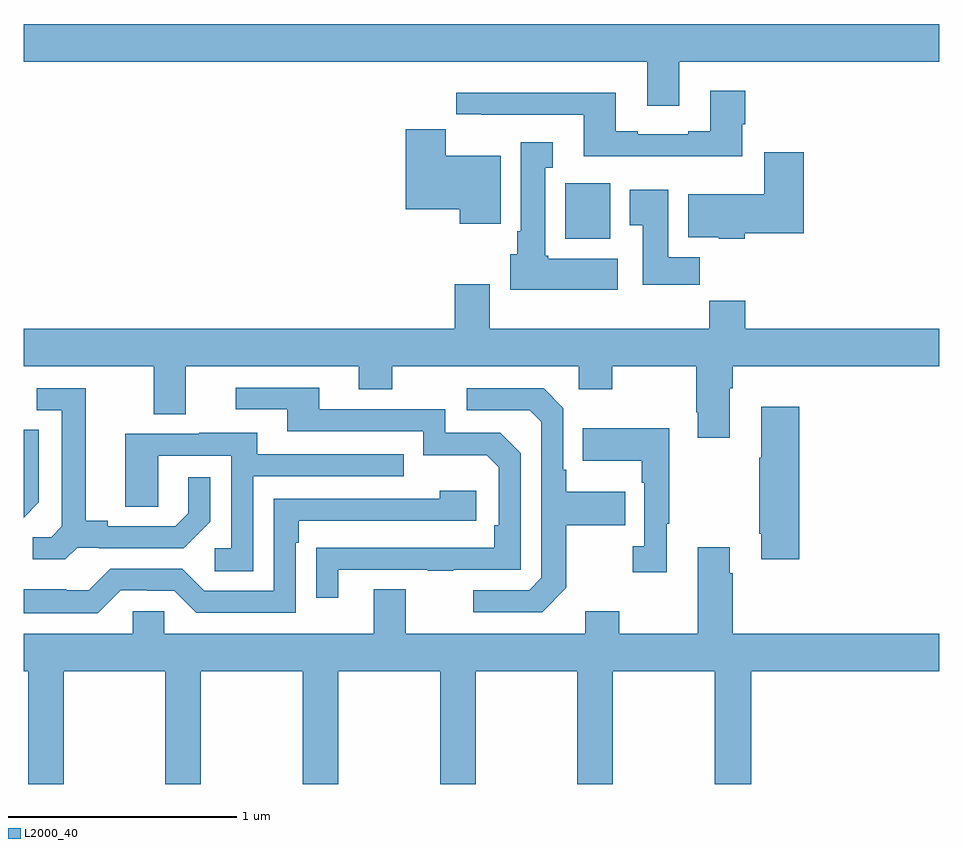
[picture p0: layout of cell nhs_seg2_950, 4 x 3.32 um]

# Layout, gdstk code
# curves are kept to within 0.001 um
import gdstk
lib = gdstk.Library(unit=1e-6, precision=1e-09)
def R(c, l, rs):  # rectangles x0, y0, x1, y1
    for r in rs: c.add(gdstk.rectangle(r[:2], r[2:], *l))
def P(c, l, *ps):  # polygons
    for p in ps: c.add(gdstk.Polygon(p, *l))
L2000_40 = (2000, 40)

nhs_seg2_950 = lib.new_cell('nhs_seg2_950')
R(nhs_seg2_950, L2000_40, [(161.366,660.182,161.563,660.424)])
P(nhs_seg2_950, L2000_40, [(161.863,660.956),(163,660.956),(163,661.12),(159,661.12),(159,660.956),(161.723,660.956),(161.723,660.762),(161.863,660.762)],
  [(162.139,660.681),(162.152,660.681),(162.152,660.829),(161.999,660.829),(161.999,660.652),(161.903,660.652),(161.903,660.639),(161.683,660.639),(161.683,660.652),(161.587,660.652),(161.587,660.82),(160.89,660.82),(160.89,660.725),(160.999,660.725),(160.999,660.723),(161.447,660.723),(161.447,660.542),(162.139,660.542)],
  [(161.083,660.544),(160.843,660.544),(160.843,660.66),(160.67,660.66),(160.67,660.311),(160.904,660.311),(160.904,660.248),(161.083,660.248)],
  [(161.596,660.094),(161.292,660.094),(161.292,660.108),(161.278,660.108),(161.278,660.491),(161.311,660.491),(161.311,660.604),(161.171,660.604),(161.171,660.214),(161.156,660.214),(161.156,660.114),(161.126,660.114),(161.126,659.96),(161.596,659.96)],
  [(162.15,660.206),(162.407,660.206),(162.407,660.559),(162.236,660.559),(162.236,660.376),(161.903,660.376),(161.903,660.188),(162.036,660.188),(162.036,660.182),(162.15,660.182)],
  [(161.954,660.1),(161.815,660.1),(161.815,660.397),(161.648,660.397),(161.648,660.241),(161.705,660.241),(161.705,659.982),(161.954,659.982)],
  [(162.085,659.528),(162.098,659.528),(162.098,659.624),(163,659.624),(163,659.788),(162.152,659.788),(162.152,659.912),(161.995,659.912),(161.995,659.788),(161.035,659.788),(161.035,659.983),(160.883,659.983),(160.883,659.788),(159,659.788),(159,659.624),(159.569,659.624),(159.569,659.416),(159.709,659.416),(159.709,659.624),(160.463,659.624),(160.463,659.525),(160.611,659.525),(160.611,659.624),(161.424,659.624),(161.424,659.525),(161.571,659.525),(161.571,659.624),(161.938,659.624),(161.938,659.425),(161.945,659.425),(161.945,659.313),(162.085,659.313)],
  [(160.375,658.737),(160.765,658.737),(160.765,658.732),(160.877,658.732),(160.877,658.737),(161.172,658.737),(161.172,659.244),(161.082,659.334),(160.842,659.334),(160.842,659.436),(160.291,659.436),(160.291,659.532),(159.927,659.532),(159.927,659.436),(160.151,659.436),(160.151,659.34),(160.746,659.34),(160.746,659.237),(161.023,659.237),(161.076,659.184),(161.076,658.93),(161.056,658.93),(161.056,658.833),(160.279,658.832),(160.279,658.614),(160.375,658.614)],
  [(161.371,658.657),(161.371,658.93),(161.627,658.93),(161.627,659.077),(161.371,659.077),(161.371,659.173),(161.358,659.173),(161.358,659.442),(161.271,659.529),(160.935,659.529),(160.935,659.433),(161.211,659.433),(161.262,659.382),(161.262,658.701),(161.208,658.647),(160.965,658.647),(160.965,658.551),(161.265,658.551)],
  [(159.234,658.833),(159.328,658.833),(159.328,658.83),(159.7,658.83),(159.816,658.946),(159.816,659.14),(159.719,659.14),(159.719,658.983),(159.662,658.926),(159.367,658.926),(159.367,658.949),(159.271,658.949),(159.271,659.529),(159.057,659.529),(159.057,659.433),(159.167,659.433),(159.167,658.925),(159.12,658.878),(159.039,658.878),(159.039,658.781),(159.182,658.781)],
  [(162.389,659.449),(162.221,659.449),(162.221,659.225),(162.214,659.225),(162.214,658.894),(162.221,658.894),(162.221,658.782),(162.389,658.782)],
  [(161.809,658.937),(161.821,658.937),(161.821,659.353),(161.443,659.353),(161.443,659.213),(161.7,659.213),(161.7,659.117),(161.712,659.117),(161.712,658.838),(161.661,658.838),(161.661,658.725),(161.809,658.725)],
  [(159.066,659.03),(159.066,659.348),(159,659.348),(159,658.964)],
  [(160.002,659.145),(160.661,659.145),(160.661,659.241),(160.021,659.241),(160.021,659.335),(159.767,659.335),(159.767,659.331),(159.443,659.331),(159.443,659.011),(159.588,659.011),(159.588,659.235),(159.906,659.235),(159.906,658.83),(159.834,658.83),(159.834,658.729),(160.002,658.729)],
  [(159.423,658.647),(159.539,658.647),(159.539,658.644),(159.657,658.644),(159.753,658.548),(160.188,658.548),(160.188,658.853),(160.201,658.853),(160.201,658.95),(160.978,658.95),(160.978,659.08),(160.817,659.08),(160.817,659.046),(160.092,659.046),(160.092,658.644),(159.789,658.644),(159.693,658.74),(159.378,658.74),(159.285,658.647),(159.185,658.647),(159.185,658.651),(159,658.651),(159,658.547),(159.323,658.547)],
  [(159.174,658.292),(159.619,658.292),(159.619,657.8),(159.774,657.8),(159.774,658.292),(160.219,658.292),(160.219,657.8),(160.374,657.8),(160.374,658.292),(160.819,658.292),(160.819,657.8),(160.974,657.8),(160.974,658.292),(161.419,658.292),(161.419,657.8),(161.574,657.8),(161.574,658.292),(162.019,658.292),(162.019,657.8),(162.179,657.8),(162.179,658.292),(163,658.292),(163,658.456),(162.098,658.456),(162.098,658.721),(162.085,658.721),(162.085,658.834),(161.945,658.834),(161.945,658.456),(161.601,658.456),(161.601,658.555),(161.453,658.555),(161.453,658.456),(160.669,658.456),(160.669,658.651),(160.529,658.651),(160.529,658.456),(159.615,658.456),(159.615,658.554),(159.477,658.554),(159.477,658.456),(159,658.456),(159,658.292),(159.019,658.292),(159.019,657.8),(159.174,657.8)])

lib.write_gds('nhs_seg2_950.gds')
